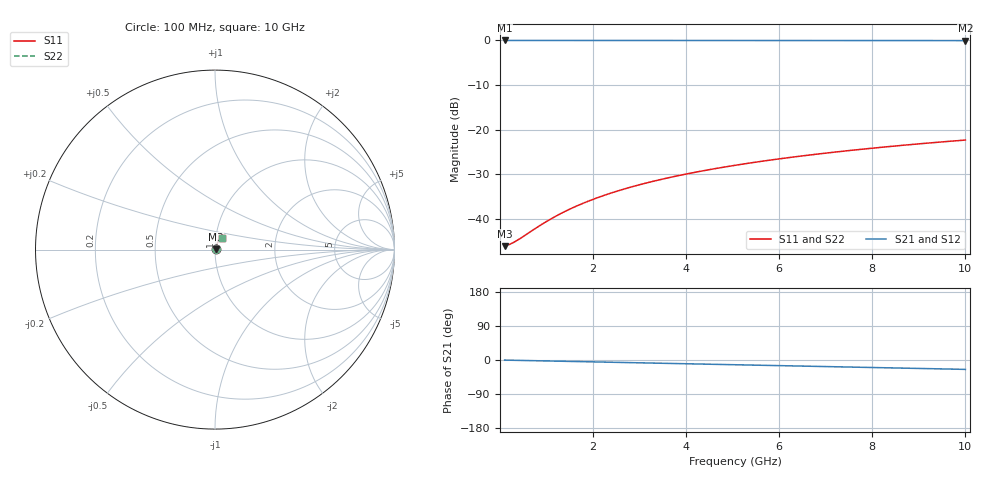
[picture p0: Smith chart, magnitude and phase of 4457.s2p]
# Hz S RI R 50.00
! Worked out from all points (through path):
!   100 points, 100 MHz to 10 GHz, reference 50 ohm
!   highest |S21| = -0.04 dB at 100 MHz (marker M1); lowest = -0.1 dB at 10 GHz (marker M2)
!   group delay of S21, straight-line fit = 6.88 ps
!   lowest |S11| = -46.1 dB at 100 MHz (marker M3), VSWR 1.01, Z = 50.5 + j0.0775 ohm
!   |S11| at or under -10 dB: start of sweep to end of sweep
!   |S22| runs from -46.1 to -22.3 dB; largest |S21 - S12| = 0
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1e8  0.00488 0.000767  0.9951 -0.0043  0.9951 -0.0043  0.00488 0.000767
2e8  0.00493 0.00153  0.995 -0.0086  0.995 -0.0086  0.00493 0.00153
3e8  0.00496 0.0023  0.995 -0.0129  0.995 -0.0129  0.00496 0.0023
4e8  0.00501 0.00307  0.9949 -0.0172  0.9949 -0.0172  0.00501 0.00307
9e8  0.00528 0.00689  0.9942 -0.0387  0.9942 -0.0387  0.00528 0.00689
1.2e9  0.00552 0.00918  0.9935 -0.0516  0.9935 -0.0516  0.00552 0.00918
1.5e9  0.00581 0.0115  0.9927 -0.0644  0.9927 -0.0644  0.00581 0.0115
1.8e9  0.00616 0.0137  0.9918 -0.0773  0.9918 -0.0773  0.00616 0.0137
2.1e9  0.00656 0.016  0.9906 -0.0902  0.9906 -0.0902  0.00656 0.016
2.5e9  0.00719 0.019  0.9888 -0.1073  0.9888 -0.1073  0.00719 0.019
2.9e9  0.00792 0.022  0.9867 -0.1243  0.9867 -0.1243  0.00792 0.022
3.4e9  0.00898 0.0256  0.9837 -0.1456  0.9837 -0.1456  0.00898 0.0256
3.8e9  0.00994 0.0285  0.9809 -0.1626  0.9809 -0.1626  0.00994 0.0285
4.2e9  0.011 0.0314  0.9778 -0.1795  0.9778 -0.1795  0.011 0.0314
4.6e9  0.0122 0.0342  0.9744 -0.1963  0.9744 -0.1963  0.0122 0.0342
5.1e9  0.0137 0.0377  0.9698 -0.2173  0.9698 -0.2173  0.0137 0.0377
5.9e9  0.0166 0.0431  0.9614 -0.2506  0.9614 -0.2506  0.0166 0.0431
6.7e9  0.0198 0.0483  0.9519 -0.2836  0.9519 -0.2836  0.0198 0.0483
7.5e9  0.0234 0.0533  0.9411 -0.3162  0.9411 -0.3162  0.0234 0.0533
8.4e9  0.0278 0.0585  0.9277 -0.3524  0.9277 -0.3524  0.0278 0.0585
9.2e9  0.032 0.0629  0.9146 -0.384  0.9146 -0.384  0.032 0.0629
1e10  0.0366 0.067  0.9004 -0.4152  0.9004 -0.4152  0.0366 0.067
